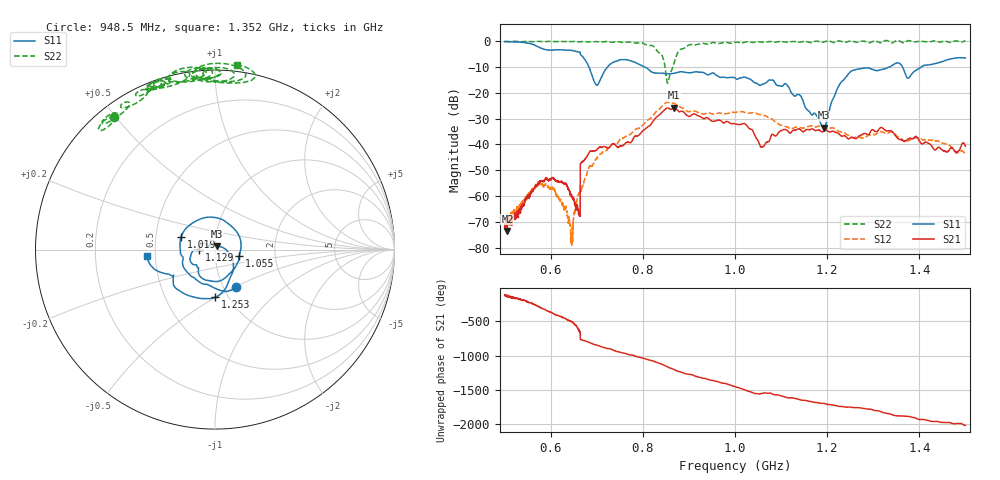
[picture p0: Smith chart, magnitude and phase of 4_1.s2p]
!Agilent Technologies,E8364B,US42250235,A.06.04.32
!Agilent E8364B: A.06.04.32
!Date: Thursday, October 01, 2020 15:54:20
!Correction: S11(Full 2 Port(1,2)) S21(Full 2 Port(1,2)) S12(Full 2 Port(1,2)) S22(Full 2 Port(1,2))
!S2P File: Measurements: S11, S21, S12, S22:
# Hz S  dB  R 50
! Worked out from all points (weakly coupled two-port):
!   2650 points, 500 MHz to 1.5 GHz, reference 50 ohm
!   highest |S21| = -25.79 dB at 868.1 MHz (marker M1); lowest = -73.6 dB at 506 MHz (marker M2)
!   lowest |S11| = -33.5 dB at 1.194 GHz (marker M3), VSWR 1.04, Z = 51.2 + j1.8 ohm
!   |S11| at or under -10 dB: 683 MHz to 723.2 MHz (40.19 MHz wide, 5.72 % of centre); 804.5 MHz to 1.335 GHz (530.4 MHz wide, 49.6 % of centre); 1.364 GHz to 1.404 GHz (40.44 MHz wide, 2.92 % of centre)
!   |S22| runs from -16.2 to 0.3 dB; largest |S21 - S12| = 0.04
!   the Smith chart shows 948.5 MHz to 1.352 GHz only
!   S11 on the Smith chart (normalised r, x): 948.5 MHz: 1.15, -0.50; 1.019 GHz: 0.68, +0.10; 1.055 GHz: 1.31, -0.09; 1.129 GHz: 0.84, +0.00; 1.253 GHz: 0.87, -0.50; 1.352 GHz: 0.45, -0.04
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5e8  -0.15 -174.8  -72.36 -107.3  -72.32 -137.4  0.01 142.3
5.0604e8  -0.17 -178.2  -73.61 -127.4  -68.94 -122.5  -0.07 143.3
5.785202e8  -2.63 133.1  -54.08 60.6  -55.46 37.8  -0.09 132.8
6.449604e8  -3.53 93.2  -59.33 -140.5  -77.50 141.5  -0.10 125.7
6.589279e8  -4.09 77.1  -65.57 116.9  -59.66 33.8  -0.18 125.8
6.668554e8  -5.45 37.5  -47.03 -49.8  -56.90 8.1  -0.12 123.2
6.985655e8  -16.82 -90.1  -42.29 -124.7  -45.74 -92.7  -0.10 120.1
7.197055e8  -10.82 158.2  -41.07 -172.6  -42.49 -152.9  -0.10 113.5
7.831257e8  -8.14 19.4  -36.70 71.7  -34.29 82.4  -0.65 103.6
8.337108e8  -12.37 -107.8  -28.87 -30.3  -26.74 -13.6  -4.26 54.5
8.680634e8  -12.39 137.9  -25.79 -128.5  -24.05 -112.8  -8.34 -162.0
9.484711e8  -12.46 -60.1  -30.84 75.0  -28.02 108.7  -0.63 127.1
1.000189e9  -14.26 -159.0  -32.05 -17.5  -27.62 31.0  -0.40 120.5
1.018686e9  -13.91 159.7  -31.93 -56.6  -27.43 -2.9  -0.51 113.9
1.055304e9  -17.09 -14.3  -40.85 -122.5  -28.45 -65.3  -0.24 113.2
1.128539e9  -21.21 179.8  -34.50 170.8  -33.56 -158.5  -0.08 108.8
1.166667e9  -28.57 149.2  -33.98 121.4  -32.85 153.0  -0.41 101.0
1.193847e9  -33.46 55.7  -34.51 95.9  -33.23 110.9  -0.22 93.5
1.252737e9  -11.53 -89.5  -37.13 39.5  -37.32 39.7  0.09 93.9
1.333522e9  -10.09 -155.1  -34.73 -54.1  -35.53 -32.7  0.02 96.3
1.352397e9  -8.38 -174.3  -37.54 -86.8  -36.91 -62.8  0.32 83.2
1.5e9  -6.46 137.4  -40.68 132.1  -43.44 172.0  0.20 69.8
